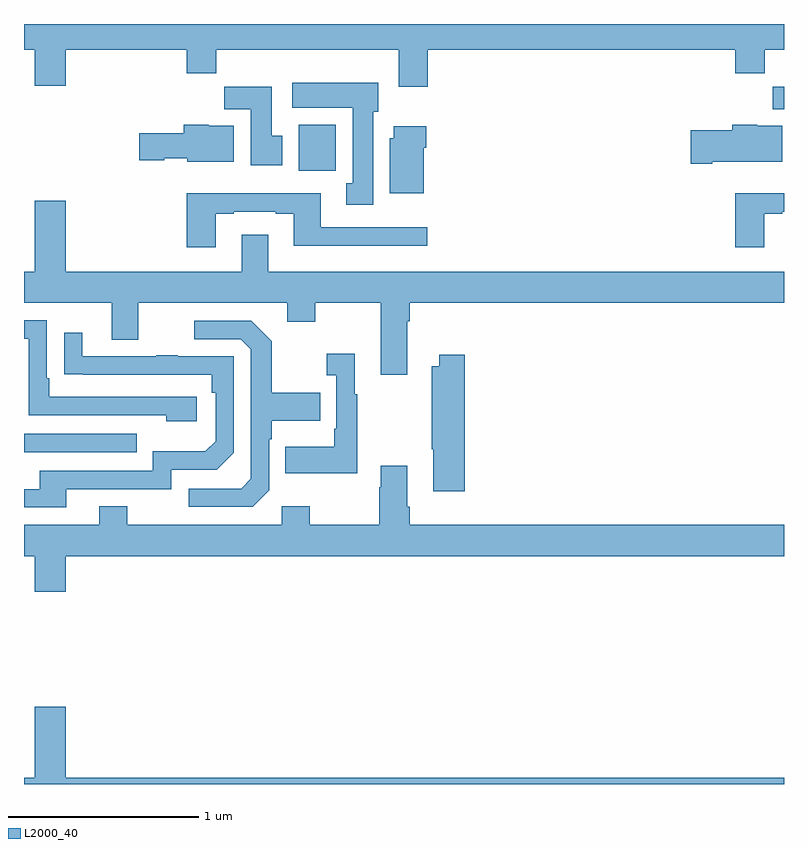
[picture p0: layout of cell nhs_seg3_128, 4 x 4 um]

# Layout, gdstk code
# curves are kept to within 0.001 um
import gdstk
lib = gdstk.Library(unit=1e-6, precision=1e-09)
def R(c, l, rs):  # rectangles x0, y0, x1, y1
    for r in rs: c.add(gdstk.rectangle(r[:2], r[2:], *l))
def P(c, l, *ps):  # polygons
    for p in ps: c.add(gdstk.Polygon(p, *l))
L2000_40 = (2000, 40)

nhs_seg3_128 = lib.new_cell('nhs_seg3_128')
R(nhs_seg3_128, L2000_40, [(117,684.147,117.593,684.243), (118.445,685.628,118.642,685.87), (120.94,685.952,121,686.071)])
P(nhs_seg3_128, L2000_40, [(119.126,686.264),(120.743,686.264),(120.743,686.14),(120.899,686.14),(120.899,686.264),(121,686.264),(121,686.4),(117,686.4),(117,686.264),(117.056,686.264),(117.056,686.076),(117.22,686.076),(117.22,686.264),(117.857,686.264),(117.857,686.14),(118.013,686.14),(118.013,686.264),(118.973,686.264),(118.973,686.07),(119.126,686.07)],
  [(118.837,685.938),(118.864,685.938),(118.864,686.092),(118.413,686.092),(118.413,685.958),(118.73,685.958),(118.73,685.562),(118.697,685.562),(118.697,685.449),(118.837,685.449)],
  [(118.36,685.812),(118.303,685.812),(118.303,686.071),(118.054,686.071),(118.054,685.952),(118.193,685.952),(118.193,685.656),(118.36,685.656)],
  [(120.622,685.676),(120.991,685.676),(120.991,685.864),(120.858,685.864),(120.858,685.87),(120.728,685.87),(120.728,685.842),(120.51,685.842),(120.51,685.664),(120.622,685.664)],
  [(118.105,685.864),(117.972,685.864),(117.972,685.87),(117.842,685.87),(117.842,685.824),(117.606,685.824),(117.606,685.682),(117.738,685.682),(117.738,685.694),(117.858,685.694),(117.858,685.676),(118.105,685.676)],
  [(119.104,685.748),(119.117,685.748),(119.117,685.861),(118.946,685.861),(118.946,685.8),(118.925,685.8),(118.925,685.508),(119.104,685.508)],
  [(120.895,685.401),(120.991,685.401),(120.991,685.413),(121,685.413),(121,685.51),(120.743,685.51),(120.743,685.224),(120.895,685.224)],
  [(118.009,685.401),(118.105,685.401),(118.105,685.413),(118.325,685.413),(118.325,685.401),(118.421,685.401),(118.421,685.232),(119.122,685.232),(119.122,685.329),(118.561,685.329),(118.561,685.51),(117.857,685.51),(117.857,685.224),(118.009,685.224)],
  [(119.017,684.836),(119.03,684.836),(119.03,684.932),(121,684.932),(121,685.096),(118.285,685.096),(118.285,685.291),(118.145,685.291),(118.145,685.096),(117.22,685.096),(117.22,685.471),(117.056,685.471),(117.056,685.096),(117,685.096),(117,684.932),(117.461,684.932),(117.461,684.738),(117.601,684.738),(117.601,684.932),(118.385,684.932),(118.385,684.833),(118.533,684.833),(118.533,684.932),(118.877,684.932),(118.877,684.555),(119.017,684.555)],
  [(117.91,684.438),(117.133,684.438),(117.133,684.535),(117.12,684.535),(117.12,684.84),(117,684.84),(117,684.744),(117.024,684.744),(117.024,684.342),(117.749,684.342),(117.749,684.308),(117.91,684.308)],
  [(118.29,683.946),(118.29,684.215),(118.303,684.215),(118.303,684.311),(118.559,684.311),(118.559,684.459),(118.303,684.459),(118.303,684.731),(118.197,684.837),(117.897,684.837),(117.897,684.741),(118.14,684.741),(118.194,684.687),(118.194,684.006),(118.143,683.955),(117.867,683.955),(117.867,683.859),(118.203,683.859)],
  [(117.223,683.952),(117.774,683.952),(117.774,684.054),(118.014,684.054),(118.104,684.144),(118.104,684.651),(117.809,684.651),(117.809,684.656),(117.697,684.656),(117.697,684.651),(117.307,684.651),(117.307,684.775),(117.211,684.775),(117.211,684.556),(117.988,684.555),(117.988,684.458),(118.008,684.458),(118.008,684.204),(117.955,684.151),(117.678,684.151),(117.678,684.048),(117.083,684.048),(117.083,683.952),(117,683.952),(117,683.856),(117.223,683.856)],
  [(118.753,684.451),(118.741,684.451),(118.741,684.664),(118.593,684.664),(118.593,684.551),(118.644,684.551),(118.644,684.271),(118.632,684.271),(118.632,684.175),(118.375,684.175),(118.375,684.035),(118.753,684.035)],
  [(119.321,684.658),(119.186,684.658),(119.186,684.598),(119.146,684.598),(119.146,684.163),(119.153,684.163),(119.153,683.94),(119.321,683.94)],
  [(117.22,683.6),(121,683.6),(121,683.764),(119.03,683.764),(119.03,683.86),(119.017,683.86),(119.017,684.076),(118.877,684.076),(118.877,683.963),(118.87,683.963),(118.87,683.764),(118.503,683.764),(118.503,683.863),(118.356,683.863),(118.356,683.764),(117.543,683.764),(117.543,683.863),(117.395,683.863),(117.395,683.764),(117,683.764),(117,683.6),(117.056,683.6),(117.056,683.412),(117.22,683.412)],
  [(121,682.432),(117.22,682.432),(117.22,682.807),(117.056,682.807),(117.056,682.432),(117,682.432),(117,682.4),(121,682.4)])

lib.write_gds('nhs_seg3_128.gds')
